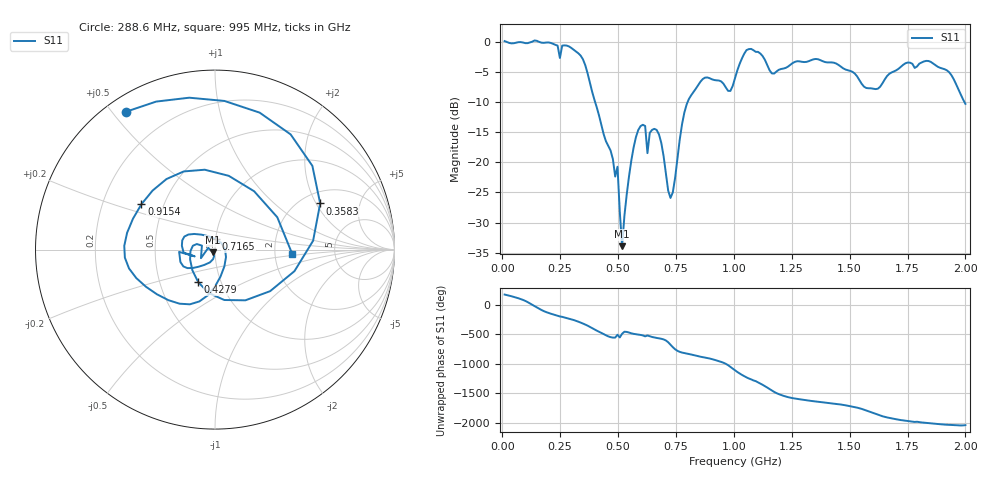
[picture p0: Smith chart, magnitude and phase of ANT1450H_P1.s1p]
!Created with skrf (http://scikit-rf.org).
# Hz S RI R 50.0
!freq ReS11 ImS11
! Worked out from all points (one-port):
!   201 points, 10 MHz to 2 GHz, reference 50 ohm
!   lowest |S11| = -33.9 dB at 517.5 MHz (marker M1), VSWR 1.04, Z = 48.7 - j1.46 ohm
!   |S11| at or under -10 dB: 400.9 MHz to 800.5 MHz (399.6 MHz wide, 66.5 % of centre); 1.995907 GHz to end of sweep
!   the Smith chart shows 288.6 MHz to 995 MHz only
!   S11 on the Smith chart (normalised r, x): 288.6 MHz: 0.06, +0.55; 358.2 MHz: 2.49, +2.16; 427.9 MHz: 0.78, -0.30; 716.5 MHz: 1.01, +0.12; 915.5 MHz: 0.37, +0.25; 995 MHz: 2.50, -0.13
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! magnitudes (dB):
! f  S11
! 10 MHz  0.1
! 258.8 MHz  -0.6
! 288.6 MHz  -0.8
! 358.2 MHz  -3.9
! 427.9 MHz  -13.8
! 497.6 MHz  -20.7
! 507.5 MHz  -28.2
! 517.5 MHz  -33.9
! 557.2 MHz  -19.7
! 597 MHz  -14.0
! 617 MHz  -14.0
! 626.9 MHz  -18.5
! 676.6 MHz  -15.4
! 716.5 MHz  -24.7
! 736.4 MHz  -25.0
! 756.2 MHz  -19.4
! 806 MHz  -9.5
! 915.5 MHz  -6.3
! 995 MHz  -7.3
! 1.005 GHz  -6.0
! 1.065 GHz  -1.2
! 1.164 GHz  -5.3
! 1.254 GHz  -3.5
! 1.502 GHz  -4.8
! 1.612 GHz  -7.9
! 1.751 GHz  -3.4
! 1.92 GHz  -4.7
! 2 GHz  -10.3
